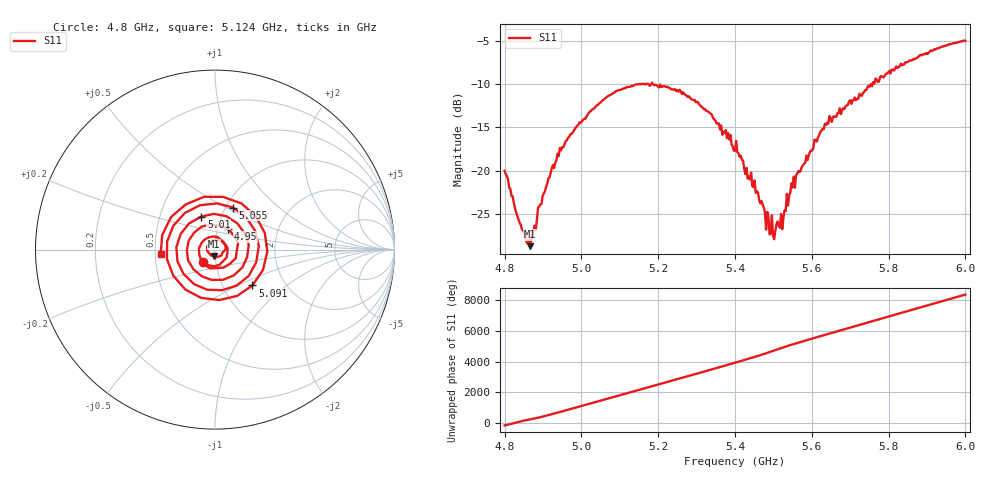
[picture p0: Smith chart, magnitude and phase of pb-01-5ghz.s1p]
! NanoVNA-App
! Date: 2026-05-22 17:11:40
! Start: 4.8GHz Stop: 6GHz Points: 401
! S-Parameter data: F S11
# Hz S RI R 50
!  Frequency  S11_Real  S11_Imag
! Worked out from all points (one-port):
!   401 points, 4.8 GHz to 6 GHz, reference 50 ohm
!   lowest |S11| = -28.7 dB at 4.866 GHz (marker M1), VSWR 1.08, Z = 49.3 - j3.57 ohm
!   |S11| at or under -10 dB: start of sweep to 5.149 GHz; 5.17513 GHz to 5.181742 GHz (6.613 MHz wide, 0.128 % of centre); 5.187 GHz to 5.754 GHz (567.2 MHz wide, 10.4 % of centre)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
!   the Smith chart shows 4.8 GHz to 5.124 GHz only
!   S11 on the Smith chart (normalised r, x): 4.8 GHz: 0.86, -0.12; 4.95 GHz: 1.12, +0.27; 5.01 GHz: 0.81, +0.31; 5.055 GHz: 1.08, +0.54; 5.091 GHz: 1.38, -0.60; 5.124 GHz: 0.53, -0.03
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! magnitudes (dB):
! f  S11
! 4.8 GHz  -20.0
! 4.839 GHz  -26.0
! 4.86 GHz  -28.4
! 4.866 GHz  -28.7
! 4.92 GHz  -20.3
! 4.95 GHz  -17.3
! 5.01 GHz  -14.0
! 5.055 GHz  -11.9
! 5.091 GHz  -10.8
! 5.1 GHz  -10.7
! 5.124 GHz  -10.3
! 5.187 GHz  -10.0
! 5.25 GHz  -10.7
! 5.334 GHz  -13.3
! 5.382 GHz  -15.6
! 5.4 GHz  -17.7
! 5.409 GHz  -18.0
! 5.43 GHz  -19.7
! 5.454 GHz  -22.6
! 5.487 GHz  -25.4
! 5.49 GHz  -27.4
! 5.496 GHz  -25.2
! 5.52 GHz  -25.0
! 5.55 GHz  -22.0
! 5.64 GHz  -14.5
! 5.7 GHz  -11.9
! 5.85 GHz  -7.4
! 6 GHz  -5.0
